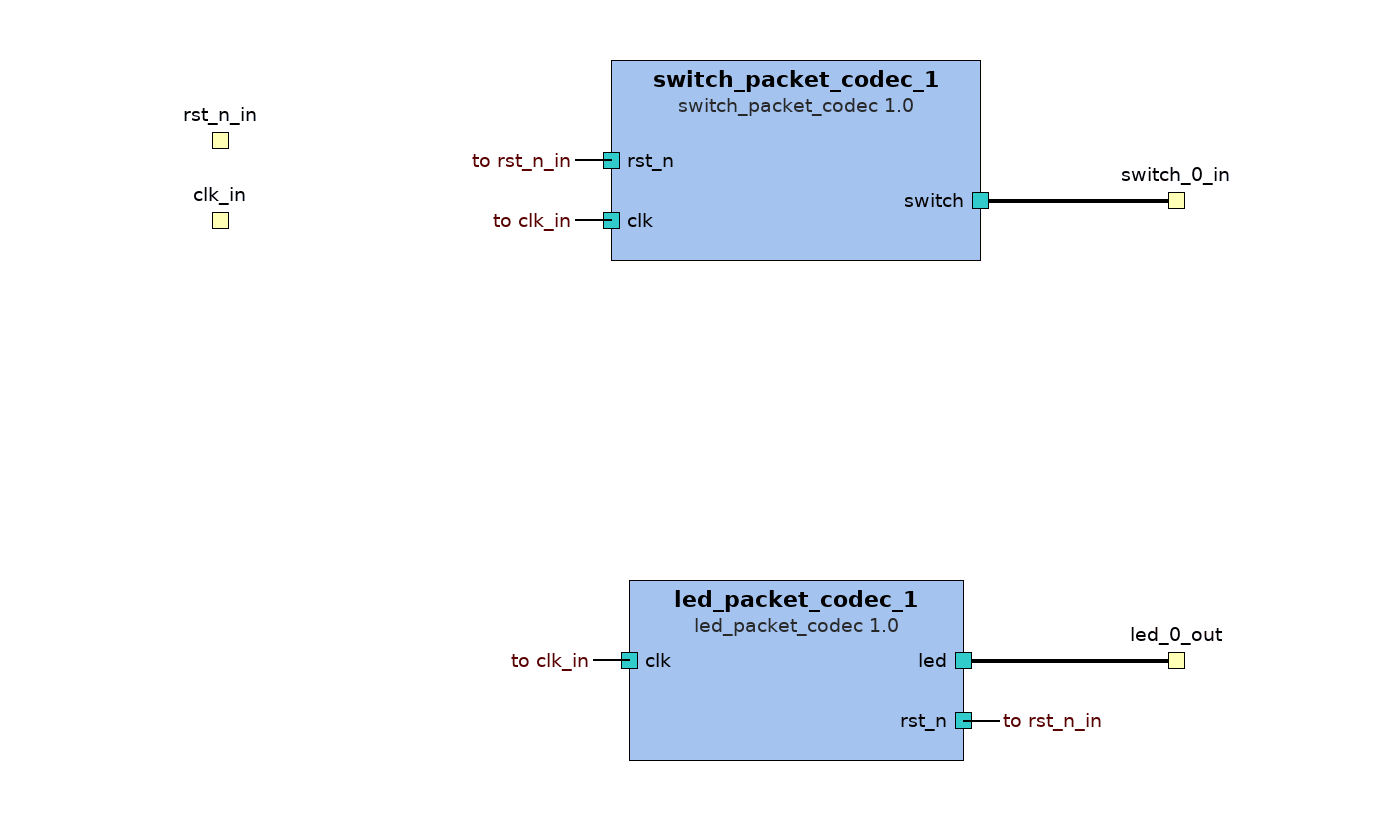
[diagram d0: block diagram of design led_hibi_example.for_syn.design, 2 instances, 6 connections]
<?xml version="1.0" encoding="UTF-8"?>
<!-- Created by Kactus2 - Open source IP-Xact toolset -->
<!-- http://sourceforge.net/projects/kactus2/ -->
<!-- Date: 04.07.2012 -->
<!-- Time: 14:08:46 -->
<spirit:design xmlns:kactus2="http://funbase.cs.tut.fi/" xmlns:spirit="http://www.spiritconsortium.org/XMLSchema/SPIRIT/1.5" xmlns:xsi="http://www.w3.org/2001/XMLSchema-instance" xsi:schemaLocation="http://www.spiritconsortium.org/XMLSchema/SPIRIT/1.5 http://www.spiritconsortium.org/XMLSchema/SPIRIT/1.5/index.xsd"><spirit:vendor>TUT</spirit:vendor><spirit:library>soc</spirit:library><spirit:name>led_hibi_example.for_syn.design</spirit:name>
 <spirit:version>1.0</spirit:version><spirit:componentInstances>
 <spirit:componentInstance><spirit:instanceName>switch_packet_codec_1</spirit:instanceName><spirit:componentRef spirit:vendor="TUT" spirit:library="ip.hwp.interface" spirit:name="switch_packet_codec" spirit:version="1.0"/><spirit:configurableElementValues><spirit:configurableElementValue spirit:referenceId="my_id_g">16#03000000#</spirit:configurableElementValue></spirit:configurableElementValues></spirit:componentInstance>
 <spirit:componentInstance><spirit:instanceName>led_packet_codec_1</spirit:instanceName><spirit:componentRef spirit:vendor="TUT" spirit:library="ip.hwp.interface" spirit:name="led_packet_codec" spirit:version="1.0"/></spirit:componentInstance>
</spirit:componentInstances><spirit:hierConnections>
 <spirit:hierConnection spirit:interfaceRef="rst_n_in"><spirit:interface spirit:componentRef="switch_packet_codec_1" spirit:busRef="rst_n"/></spirit:hierConnection>
 <spirit:hierConnection spirit:interfaceRef="switch_0_in"><spirit:interface spirit:componentRef="switch_packet_codec_1" spirit:busRef="switch"/></spirit:hierConnection>
 <spirit:hierConnection spirit:interfaceRef="rst_n_in"><spirit:interface spirit:componentRef="led_packet_codec_1" spirit:busRef="rst_n"/></spirit:hierConnection>
 <spirit:hierConnection spirit:interfaceRef="led_0_out"><spirit:interface spirit:componentRef="led_packet_codec_1" spirit:busRef="led"/></spirit:hierConnection>
 <spirit:hierConnection spirit:interfaceRef="clk_in"><spirit:interface spirit:componentRef="led_packet_codec_1" spirit:busRef="clk"/></spirit:hierConnection>
 <spirit:hierConnection spirit:interfaceRef="clk_in"><spirit:interface spirit:componentRef="switch_packet_codec_1" spirit:busRef="clk"/></spirit:hierConnection>
</spirit:hierConnections></spirit:design>

